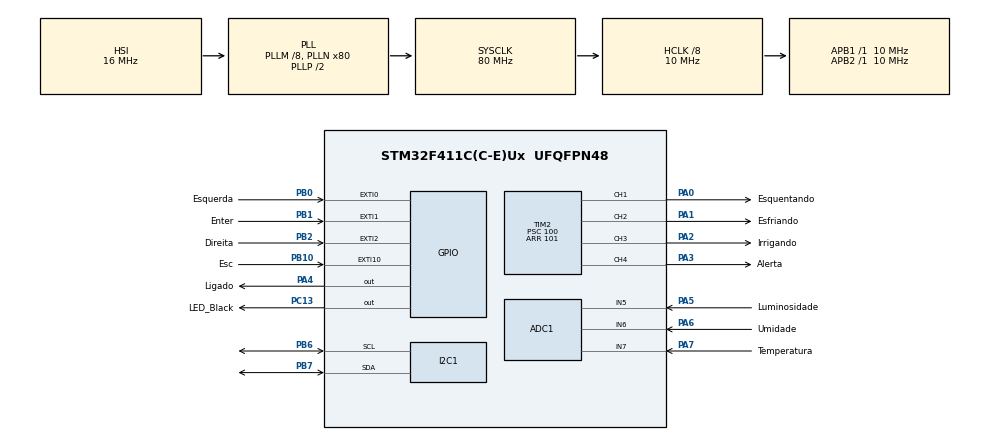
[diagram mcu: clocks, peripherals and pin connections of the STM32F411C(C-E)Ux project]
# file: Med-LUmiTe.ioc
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ADC1.Channel-0\#ChannelRegularConversion=ADC_CHANNEL_5
ADC1.Channel-1\#ChannelRegularConversion=ADC_CHANNEL_6
ADC1.Channel-2\#ChannelRegularConversion=ADC_CHANNEL_7
ADC1.ContinuousConvMode=ENABLE
ADC1.DMAContinuousRequests=ENABLE
ADC1.NbrOfConversion=3
ADC1.NbrOfConversionFlag=1
ADC1.Rank-0\#ChannelRegularConversion=1
ADC1.Rank-1\#ChannelRegularConversion=2
ADC1.Rank-2\#ChannelRegularConversion=3
ADC1.SamplingTime-0\#ChannelRegularConversion=ADC_SAMPLETIME_84CYCLES
ADC1.SamplingTime-1\#ChannelRegularConversion=ADC_SAMPLETIME_84CYCLES
ADC1.SamplingTime-2\#ChannelRegularConversion=ADC_SAMPLETIME_84CYCLES
ADC1.ScanConvMode=ENABLE
ADC1.master=1
Dma.ADC1.0.Direction=DMA_PERIPH_TO_MEMORY
Dma.ADC1.0.FIFOMode=DMA_FIFOMODE_DISABLE
Dma.ADC1.0.Instance=DMA2_Stream0
Dma.ADC1.0.MemDataAlignment=DMA_MDATAALIGN_HALFWORD
Dma.ADC1.0.MemInc=DMA_MINC_ENABLE
Dma.ADC1.0.Mode=DMA_CIRCULAR
Dma.ADC1.0.PeriphDataAlignment=DMA_PDATAALIGN_HALFWORD
Dma.ADC1.0.PeriphInc=DMA_PINC_DISABLE
Dma.ADC1.0.Priority=DMA_PRIORITY_LOW
Dma.Request0=ADC1
Mcu.Family=STM32F4
Mcu.Name=STM32F411C(C-E)Ux
Mcu.Package=UFQFPN48
NVIC.ADC_IRQn=true\:0\:0\:false\:false\:true\:true\:true\:true
NVIC.DMA2_Stream0_IRQn=true\:0\:0\:false\:false\:true\:false\:true\:true
NVIC.EXTI0_IRQn=true\:0\:0\:false\:false\:true\:true\:true\:true
NVIC.EXTI15_10_IRQn=true\:0\:0\:false\:false\:true\:true\:true\:true
NVIC.EXTI1_IRQn=true\:0\:0\:false\:false\:true\:true\:true\:true
NVIC.EXTI2_IRQn=true\:0\:0\:false\:false\:true\:true\:true\:true
NVIC.PriorityGroup=NVIC_PRIORITYGROUP_4
NVIC.TIM3_IRQn=true\:0\:0\:false\:false\:true\:true\:true\:true
NVIC.TIM4_IRQn=true\:0\:0\:false\:false\:true\:true\:true\:true
PA0-WKUP.GPIO_Label=Esquentando
PA0-WKUP.Signal=S_TIM2_CH1_ETR
PA1.GPIO_Label=Esfriando
PA1.Signal=S_TIM2_CH2
PA13.Mode=Serial_Wire
PA13.Signal=SYS_JTMS-SWDIO
PA14.Mode=Serial_Wire
PA14.Signal=SYS_JTCK-SWCLK
PA2.GPIO_Label=Irrigando
PA2.Signal=S_TIM2_CH3
PA3.GPIO_Label=Alerta
PA3.Signal=S_TIM2_CH4
PA4.GPIO_Label=Ligado
PA4.Signal=GPIO_Output
PA5.GPIO_Label=Luminosidade
PA5.Signal=ADCx_IN5
PA6.GPIO_Label=Umidade
PA6.Signal=ADCx_IN6
PA7.GPIO_Label=Temperatura
PA7.Signal=ADCx_IN7
PB0.GPIO_Label=Esquerda
PB0.GPIO_PuPd=GPIO_PULLDOWN
PB0.Signal=GPXTI0
PB1.GPIO_Label=Enter
PB1.GPIO_PuPd=GPIO_PULLDOWN
PB1.Signal=GPXTI1
PB10.GPIO_Label=Esc
PB10.GPIO_PuPd=GPIO_PULLDOWN
PB10.Signal=GPXTI10
PB2.GPIO_Label=Direita
PB2.GPIO_PuPd=GPIO_PULLDOWN
PB2.Signal=GPXTI2
PB6.Mode=I2C
PB6.Signal=I2C1_SCL
PB7.Mode=I2C
PB7.Signal=I2C1_SDA
PC13-ANTI_TAMP.GPIO_Label=LED_Black
PC13-ANTI_TAMP.Signal=GPIO_Output
PC14-OSC32_IN.Mode=LSE-External-Oscillator
PC14-OSC32_IN.Signal=RCC_OSC32_IN
PC15-OSC32_OUT.Mode=LSE-External-Oscillator
PC15-OSC32_OUT.Signal=RCC_OSC32_OUT
PH0\ -\ OSC_IN.Mode=HSE-External-Oscillator
PH0\ -\ OSC_IN.Signal=RCC_OSC_IN
PH1\ -\ OSC_OUT.Mode=HSE-External-Oscillator
PH1\ -\ OSC_OUT.Signal=RCC_OSC_OUT
ProjectManager.HeapSize=0x200
ProjectManager.StackSize=0x400
ProjectManager.TargetToolchain=STM32CubeIDE
RCC.48MHZClocksFreq_Value=40000000
RCC.AHBCLKDivider=RCC_SYSCLK_DIV8
RCC.AHBFreq_Value=10000000
RCC.APB1Freq_Value=10000000
RCC.APB1TimFreq_Value=10000000
RCC.APB2Freq_Value=10000000
RCC.APB2TimFreq_Value=10000000
RCC.CortexFreq_Value=10000000
RCC.HCLKFreq_Value=10000000
RCC.HSE_VALUE=25000000
RCC.HSI_VALUE=16000000
RCC.PLLM=8
RCC.PLLN=80
RCC.SYSCLKFreq_VALUE=80000000
RCC.SYSCLKSource=RCC_SYSCLKSOURCE_PLLCLK
RCC.VCOOutputFreq_Value=160000000
SH.ADCx_IN5.0=ADC1_IN5,IN5
SH.ADCx_IN6.0=ADC1_IN6,IN6
SH.ADCx_IN7.0=ADC1_IN7,IN7
SH.S_TIM2_CH1_ETR.0=TIM2_CH1,PWM Generation1 CH1
SH.S_TIM2_CH2.0=TIM2_CH2,PWM Generation2 CH2
SH.S_TIM2_CH3.0=TIM2_CH3,PWM Generation3 CH3
SH.S_TIM2_CH4.0=TIM2_CH4,PWM Generation4 CH4
TIM2.Channel-PWM\ Generation1\ CH1=TIM_CHANNEL_1
TIM2.Channel-PWM\ Generation2\ CH2=TIM_CHANNEL_2
TIM2.Channel-PWM\ Generation3\ CH3=TIM_CHANNEL_3
TIM2.Channel-PWM\ Generation4\ CH4=TIM_CHANNEL_4
TIM2.Period=101
TIM2.Prescaler=100
TIM2.Pulse-PWM\ Generation1\ CH1=100
TIM2.Pulse-PWM\ Generation2\ CH2=100
TIM2.Pulse-PWM\ Generation3\ CH3=100
TIM2.Pulse-PWM\ Generation4\ CH4=100
TIM2.TIM_MasterOutputTrigger=TIM_TRGO_RESET
TIM2.TIM_MasterSlaveMode=TIM_MASTERSLAVEMODE_DISABLE
TIM3.Period=10000-1
TIM3.Prescaler=1000-1
TIM4.Period=10000-1
TIM4.Prescaler=1000-1
VP_TIM2_VS_ClockSourceINT.Mode=Internal
VP_TIM3_VS_ClockSourceINT.Mode=Internal
VP_TIM4_VS_ClockSourceINT.Mode=Internal
board=custom

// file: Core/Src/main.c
/* USER CODE BEGIN Header */
/**
  ******************************************************************************
  * @file           : main.c
  * @brief          : Main program body
  ******************************************************************************
  * @attention
  *
  * Copyright (c) 2026 STMicroelectronics.
  * All rights reserved.
  *
  * This software is licensed under terms that can be found in the LICENSE file
  * in the root directory of this software component.
  * If no LICENSE file comes with this software, it is provided AS-IS.
  *
  ******************************************************************************
  */
/* USER CODE END Header */
#include "main.h"

ADC_HandleTypeDef hadc1;
DMA_HandleTypeDef hdma_adc1;

I2C_HandleTypeDef hi2c1;

TIM_HandleTypeDef htim2;
TIM_HandleTypeDef htim3;
TIM_HandleTypeDef htim4;

/* USER CODE BEGIN PV */
I2C_LCD_Handler lcd1;
/* USER CODE END PV */

void SystemClock_Config(void);
static void MX_GPIO_Init(void);
static void MX_DMA_Init(void);
static void MX_ADC1_Init(void);
static void MX_I2C1_Init(void);
static void MX_TIM2_Init(void);
static void MX_TIM3_Init(void);
static void MX_TIM4_Init(void);

/* USER CODE BEGIN 0 */
//Variaveis Para Uso De Debug:
float DLux, DUmi, DTemp;
float DLum, DLWatts;
float DUabs, DUmpt, DUpo;
float DTf, DTk, DTst;
uint8_t DAl, DAu, DAt;

//Variaveis Necessárias No Main:
uint8_t AlertaStatus;
uint8_t AtualizaLeds;
uint8_t NovoDutyCycle;
uint16_t ConversorDLimite;

//Limites Padrão:
uint16_t LMinLux = 300;
uint16_t LMaxLux = 500;
uint16_t LMinUmi = 40;
uint16_t LMaxUmi = 80;
uint16_t LMinTemp = 300;
uint16_t LMaxTemp = 500;
uint8_t MudandoMaxMin = 0x00;

//Variaveis Alteradas por DMA || TIMERS:
volatile uint16_t SegundosPadrao;
volatile uint16_t SegundosAlerta;
volatile uint16_t RegistroADC[3];

//Variaveis Para Uso do LCD && Botões:
volatile uint8_t ControleLCD = Nada;
uint8_t TelaMenu = Geral;
const char *menus[7][4] =
{
		// [Menu 0] - Geral
	{//  "01234567890123456789
		"Lux: ",
		"Umidade: ",
		"Temperatura: ",
		"Tempo Alerta: "
	},
		// [Menu 1] - Dados Luminosidade
	{// "01234567890123456789
		"Dados Luminosidade",
		"Lux: ",
		"Lumens em 1.5m: ",
		"WattsPorM2: "
	},

		// [Menu 2] - Dados Umidade
	{//  "01234567890123456789
		"Umidade Rel: ",
		"Umidade Abs: ",
		"Umidade Max: ",
		"PontOrvalho: "
	},
		// [Menu 3] - Dados Temperatura
	{//  "01234567890123456789
		"Temp em C: ",
		"Temp em F: ",
		"Temp em K: ",
		"Sens Termica: "
	},
		// [Menu 4] - Status Alertas:
	{//  "01234567890123456789
		"Conforto Lum: ",
		"Status Gelo: ",
		"Temp Sensor: ",
		"Status Alerta: "
	},
		// [Menu 5] - Dados Tempo
	{// "01234567890123456789
		"Registro De Tempos",
		"Tempo Ligado: ",
		"Tempo Em Alerta: ",
		"ESC Zera TempoAlerta"
	},
		// [Menu 6] - Configurações
	{// "01234567890123456789
		"Alterando Alerta",
		"LLum: ",
		"LUmi: ",
		"LTemp:"
	}
};

void MudaTela(I2C_LCD_Handler *LCD, const char *str[4])
{
	HAL_GPIO_TogglePin(GPIOC, LED_Black_Pin);
	LCD_Clear_All(LCD);
	LCD_Set_Pos_Home(LCD);

	LCD_Write_String(LCD, str[0]);
	LCD_Set_Pos(LCD, 0, 1);
	LCD_Write_String(LCD, str[1]);
	LCD_Set_Pos(LCD, 0, 2);
	LCD_Write_String(LCD, str[2]);
	LCD_Set_Pos(LCD, 0, 3);
	LCD_Write_String(LCD, str[3]);
}

const char* VerificarStatusAlerta(uint8_t Status)
{
    if (Status > 0) return "On";

    return "Off";
}
/* USER CODE END 0 */

int main(void)
{

  /* MCU Configuration--------------------------------------------------------*/

  /* Reset of all peripherals, Initializes the Flash interface and the Systick. */
  HAL_Init();

  /* Configure the system clock */
  SystemClock_Config();

  /* Initialize all configured peripherals */
  MX_GPIO_Init();
  MX_DMA_Init();
  MX_ADC1_Init();
  MX_I2C1_Init();
  MX_TIM2_Init();
  MX_TIM3_Init();
  MX_TIM4_Init();
  /* USER CODE BEGIN 2 */
  //Inicia Medição Potenciometros E Armazena No Registro:
  HAL_ADC_Start_DMA(&hadc1, (uint32_t*)RegistroADC, 3);

  //Inicia Os Timers:
  HAL_TIM_Base_Start(&htim2); 		//Responsável Pelos PWM
  HAL_TIM_Base_Start_IT(&htim3); 	//Responsável Pela Contagem De Tempo Em Que O Dispositivo Está Ligado
  HAL_TIM_Base_Start_IT(&htim4);	//Responsável Pela Contagem De Tempo Em Que O Alerta Esteve Ligado

  //Inicia Os PWMs:
  HAL_TIM_PWM_Start(&htim2, TIM_CHANNEL_1);
  HAL_TIM_PWM_Start(&htim2, TIM_CHANNEL_2);
  HAL_TIM_PWM_Start(&htim2, TIM_CHANNEL_3);
  HAL_TIM_PWM_Start(&htim2, TIM_CHANNEL_4);

  //Inicializa o LCD:
  LCD_Default_Init(&lcd1, &hi2c1, 20, 4);

  //Coloca A Tela De Medições Gerais Como Inicio:
  MudaTela(&lcd1, menus[TelaMenu]);

  //Apaga Os LEDs Do PWM (Ascenderão No Decorrer Do Programa)
 __HAL_TIM_SET_COMPARE(&htim2, TIM_CHANNEL_1, 0);
 __HAL_TIM_SET_COMPARE(&htim2, TIM_CHANNEL_2, 0);
 __HAL_TIM_SET_COMPARE(&htim2, TIM_CHANNEL_3, 0);
 __HAL_TIM_SET_COMPARE(&htim2, TIM_CHANNEL_4, 0);

 //Inicializa Filtros Para Cada Medição
 FiltroExp Lum;
 FiltroExp Umi;
 FiltroExp Temp;
 FiltroInit(&Lum, 0.9f);
 FiltroInit(&Umi, 0.9f);
 FiltroInit(&Temp, 0.68f);

 //Inicialização Concluida Com Sucesso, Ascende o Pino Indicador De "Ligado"
 HAL_GPIO_WritePin(GPIOA, Ligado_Pin, 1);
  /* USER CODE END 2 */

  /* Infinite loop */
  /* USER CODE BEGIN WHILE */
	while (1)
	{
		//Seção Responsável Por Alterar Tela No Menu Do LCD:
		if (ControleLCD != Nada)
		{
			switch (ControleLCD)
			{
				case Esquerda:
					if (TelaMenu <= Luminosidade){TelaMenu = Tempos; MudaTela(&lcd1, menus[TelaMenu]);}
					else if (TelaMenu != Configuracoes)  MudaTela(&lcd1, menus[--TelaMenu]);
					else if (TelaMenu == Configuracoes) MudandoMaxMin &= ~0X01;
					break;

				case Enter:
					if (TelaMenu != Configuracoes){TelaMenu = Configuracoes; MudaTela(&lcd1, menus[TelaMenu]);}
					else if (TelaMenu == Configuracoes) MudandoMaxMin ^= 0x02;
					break;

				case Direita:
					if (TelaMenu == Tempos){TelaMenu = Luminosidade; MudaTela(&lcd1, menus[TelaMenu]);}
					else if (TelaMenu != Configuracoes) MudaTela(&lcd1, menus[++TelaMenu]);
					else if (TelaMenu == Configuracoes) MudandoMaxMin |= 0X01;
					break;

				case Esc:
					if (TelaMenu != Geral){MudandoMaxMin = 0x00; TelaMenu = Geral; MudaTela(&lcd1, menus[TelaMenu]);}
					SegundosAlerta = 0;
					break;

				default: break;
			}
			ControleLCD = Nada;
			HAL_GPIO_TogglePin(GPIOC, LED_Black_Pin);
		}

		//Seção Responsável Pela Atualização Dos LEDs:
		AlertaStatus = 0x00;
		AtualizaLeds = 0;
		NovoDutyCycle = 0;
		ConversorDLimite = 0;

		while (AtualizaLeds < 3)
		{
			switch (AtualizaLeds)
			{
				case (Luminosidade-1):
					ConversorDLimite = (uint16_t)(RegistroADC[AtualizaLeds]>>2);// [0;~1024]

					if (ConversorDLimite <= (uint16_t)LMinLux || ConversorDLimite >= (uint16_t)LMaxLux)
					{
						NovoDutyCycle += (ConversorDLimite <= LMinLux) ?
							(LMinLux - ConversorDLimite)
								:
							(ConversorDLimite - LMaxLux);
						AlertaStatus = (AlertaStatus & 0x07) | 0x01 << AtualizaLeds;
					}

					FiltroAplicar(&Lum, ConversorDLimite);

					break;

				case (Umidade-1):
					ConversorDLimite = (uint16_t)(RegistroADC[AtualizaLeds]*101/4095); //"0" + 100 == 101

					if (ConversorDLimite <= (uint16_t)LMinUmi || ConversorDLimite >= (uint16_t)LMaxUmi)
					{
						NovoDutyCycle += (ConversorDLimite <= LMinUmi) ?
							(LMinUmi - ConversorDLimite)
								:
							(ConversorDLimite - LMaxUmi);
						AlertaStatus = (AlertaStatus & 0x07) | 0x01 << AtualizaLeds;
					}

					__HAL_TIM_SET_COMPARE(&htim2, TIM_CHANNEL_3, ConversorDLimite);

					FiltroAplicar(&Umi, ConversorDLimite);
					break;

				case (Temperatura-1):
					ConversorDLimite = (uint16_t)(RegistroADC[AtualizaLeds]*801/4095); //80 valores * 10 casas decimais + 0

					if (ConversorDLimite <= (uint16_t)LMinTemp || ConversorDLimite >= (uint16_t)LMaxTemp)
					{
						NovoDutyCycle += (ConversorDLimite <= LMinTemp) ?
							(LMinTemp - ConversorDLimite)
								:
							(ConversorDLimite - LMaxTemp);
						AlertaStatus = (AlertaStatus & 0x07) | 0x01 << AtualizaLeds;
					}

					FiltroAplicar(&Temp, (ConversorDLimite - 200)/10); //Faz Intervalo Temperatura começar em -20 [-20;60]

					if (GetValorAntFiltro(&Temp) < 0.0f)
					{__HAL_TIM_SET_COMPARE(&htim2, TIM_CHANNEL_1, (ConversorDLimite/801));__HAL_TIM_SET_COMPARE(&htim2, TIM_CHANNEL_2, (801-(ConversorDLimite/801)));}
					else if (GetValorAntFiltro(&Temp) > 0.0f)
					{__HAL_TIM_SET_COMPARE(&htim2, TIM_CHANNEL_2, (ConversorDLimite/801));__HAL_TIM_SET_COMPARE(&htim2, TIM_CHANNEL_1, (801-(ConversorDLimite/801)));}
					else if (GetValorAntFiltro(&Temp) == 0.0f) {__HAL_TIM_SET_COMPARE(&htim2, TIM_CHANNEL_2, 0);__HAL_TIM_SET_COMPARE(&htim2, TIM_CHANNEL_1, 0);}

					break;
				default: break;
			}

			AtualizaLeds++;
		}
		__HAL_TIM_SET_COMPARE(&htim2, TIM_CHANNEL_4, NovoDutyCycle<<2);

		if (AlertaStatus > 0x00) __HAL_TIM_ENABLE_IT(&htim4, TIM_IT_UPDATE);
		else __HAL_TIM_DISABLE_IT(&htim4, TIM_IT_UPDATE);

		//Atualiza Valores De Variaveis de Debug:
		DLux = GetValorFiltro(&Lum);
		DUmi = GetValorFiltro(&Umi);
		DTemp = GetValorFiltro(&Temp);

		DLum = LuxToLumens(DLux, 1.5);
		DLWatts = LuxToWattPorM2(DLux, Fluororescente);

		DUabs = UmidadeAbsoluta(DUmi, DTemp);
		DUmpt = UmidadeMaxPorTemp(DTemp);
		DUpo = PontOrvalho(DTemp, DUmi);

		DTf = CelsiusToFahrenheit(DTemp);
		DTk = CelsiusToKelvin(DTemp);
		DTst = SensacaoTermica(DTemp, DUmi);

		DAl = (AlertaStatus&(0x01<<0));
		DAu = (AlertaStatus&(0x01<<1));
		DAt = (AlertaStatus&(0x01<<2));

		//Seção Responsável Pela Exibição Dos Valores Medidos De Acordo Com O Tipo De Tela Selecionada:
		switch (TelaMenu)
		{
			case Geral:
				LCD_Clear_Partial_Line(&lcd1, 0, (uint8_t) strlen(menus[TelaMenu][0]));
				LCD_Write_Number(&lcd1, DLux, 2);

				LCD_Clear_Partial_Line(&lcd1, 1, (uint8_t) strlen(menus[TelaMenu][1]));
				LCD_Write_Number(&lcd1, DUmi, 2);

				LCD_Clear_Partial_Line(&lcd1, 2, (uint8_t) strlen(menus[TelaMenu][2]));
				LCD_Write_Number(&lcd1, DTemp, 2);

				LCD_Clear_Partial_Line(&lcd1, 3, (uint8_t) strlen(menus[TelaMenu][3]));
				LCD_Write_Number(&lcd1, SegundosAlerta, 0);
				break;

			case Luminosidade:
				LCD_Clear_Partial_Line(&lcd1, 1, (uint8_t) strlen(menus[TelaMenu][1]));
				LCD_Write_Number(&lcd1, DLux, 2);

				LCD_Clear_Partial_Line(&lcd1, 2, (uint8_t) strlen(menus[TelaMenu][2]));
				LCD_Write_Number(&lcd1, DLum, 2);

				LCD_Clear_Partial_Line(&lcd1, 3, (uint8_t) strlen(menus[TelaMenu][3]));
				LCD_Write_Number(&lcd1, DLWatts, 2);
				break;

			case Umidade:
				LCD_Clear_Partial_Line(&lcd1, 0, (uint8_t) strlen(menus[TelaMenu][0]));
				LCD_Write_Number(&lcd1, DUmi, 2);

				LCD_Clear_Partial_Line(&lcd1, 1, (uint8_t) strlen(menus[TelaMenu][1]));
				LCD_Write_Number(&lcd1, DUabs, 2);

				LCD_Clear_Partial_Line(&lcd1, 2, (uint8_t) strlen(menus[TelaMenu][2]));
				LCD_Write_Number(&lcd1, DUmpt, 2);

				LCD_Clear_Partial_Line(&lcd1, 3, (uint8_t) strlen(menus[TelaMenu][3]));
				LCD_Write_Number(&lcd1, DUpo, 2);
				break;

			case Temperatura:
				LCD_Clear_Partial_Line(&lcd1, 0, (uint8_t) strlen(menus[TelaMenu][0]));
				LCD_Write_Number(&lcd1, DTemp, 2);

				LCD_Clear_Partial_Line(&lcd1, 1, (uint8_t) strlen(menus[TelaMenu][1]));
				LCD_Write_Number(&lcd1, DTf, 2);

				LCD_Clear_Partial_Line(&lcd1, 2, (uint8_t) strlen(menus[TelaMenu][2]));
				LCD_Write_Number(&lcd1, DTk, 2);

				LCD_Clear_Partial_Line(&lcd1, 3, (uint8_t) strlen(menus[TelaMenu][3]));
				LCD_Write_Number(&lcd1, DTst, 2);
				break;

			case Alertas:
				LCD_Clear_Partial_Line(&lcd1, 0, (uint8_t) strlen(menus[TelaMenu][0]));
				LCD_Write_String(&lcd1, AvaliarConfortoLuminoso(DLux, AmbienteTrabalho));

				LCD_Clear_Partial_Line(&lcd1, 1, (uint8_t) strlen(menus[TelaMenu][1]));
				LCD_Write_String(&lcd1, VerificarAlertaGelo(DTemp, DUmi));

				LCD_Clear_Partial_Line(&lcd1, 2, (uint8_t) strlen(menus[TelaMenu][2]));
				LCD_Write_String(&lcd1, InteracaoLuzTemperatura(DTemp));

				LCD_Clear_Partial_Line(&lcd1, 3, (uint8_t) strlen(menus[TelaMenu][3]));
				LCD_Write_String(&lcd1, VerificarStatusAlerta(AlertaStatus));
				break;

			case Tempos:
				LCD_Set_Pos(&lcd1, (uint8_t) strlen(menus[TelaMenu][1]), 1);
				LCD_Write_Number(&lcd1, SegundosPadrao, 0);

				LCD_Clear_Partial_Line(&lcd1, 2, (uint8_t) strlen(menus[TelaMenu][2]));
				LCD_Write_Number(&lcd1, SegundosAlerta, 0);
				break;

			case Configuracoes:
				if((MudandoMaxMin & 0x02) == 0x02)
				{
					if (MudandoMaxMin == 0x03)
					{
						LMaxLux = DLux;
						LMaxUmi = DUmi;
						LMaxTemp = (DTemp*10)+200;

						LCD_Clear_Partial_Line(&lcd1, 0, (uint8_t) strlen(menus[TelaMenu][0]));
						LCD_Write_String(&lcd1, "Max");

						LCD_Clear_Partial_Line(&lcd1, 1, (uint8_t) strlen(menus[TelaMenu][1]));
						LCD_Write_Number(&lcd1, LMaxLux, 2);

						LCD_Clear_Partial_Line(&lcd1, 2, (uint8_t) strlen(menus[TelaMenu][2]));
						LCD_Write_Number(&lcd1, LMaxUmi, 2);

						LCD_Clear_Partial_Line(&lcd1, 3, (uint8_t) strlen(menus[TelaMenu][3]));
						LCD_Write_Number(&lcd1, (LMaxTemp-200)/10, 2);
					}
					else if (MudandoMaxMin == 0x02)
					{
						LMinLux = DLux;
						LMinUmi = DUmi;
						LMinTemp = (DTemp*10)+200;

						LCD_Clear_Partial_Line(&lcd1, 0, (uint8_t) strlen(menus[TelaMenu][0]));
						LCD_Write_String(&lcd1, "Min");

						LCD_Clear_Partial_Line(&lcd1, 1, (uint8_t) strlen(menus[TelaMenu][1]));
						LCD_Write_Number(&lcd1, LMinLux, 2);

						LCD_Clear_Partial_Line(&lcd1, 2, (uint8_t) strlen(menus[TelaMenu][2]));
						LCD_Write_Number(&lcd1, LMinUmi, 2);

						LCD_Clear_Partial_Line(&lcd1, 3, (uint8_t) strlen(menus[TelaMenu][3]));
						LCD_Write_Number(&lcd1, (LMinTemp-200)/10, 2);
					}
				}
				else
				{
					LCD_Clear_Partial_Line(&lcd1, 1, (uint8_t) strlen(menus[TelaMenu][1]));
					LCD_Write_String(&lcd1, "Pressione");

					LCD_Clear_Partial_Line(&lcd1, 2, (uint8_t) strlen(menus[TelaMenu][2]));
					LCD_Write_String(&lcd1, "Enter");

					LCD_Clear_Partial_Line(&lcd1, 3, (uint8_t) strlen(menus[TelaMenu][3]));
					LCD_Write_String(&lcd1, "Para Mudar");
				}

				break;

			default: break;
		}
	}
    /* USER CODE END WHILE */
}
    /* USER CODE BEGIN 3 */
void HAL_GPIO_EXTI_Callback(uint16_t GPIO_Pin) //Interrupção Por Botões (Usada Para Mudar Tela Do LCD):
{
	switch (GPIO_Pin)
	{
		case Esquerda_Pin: ControleLCD = Esquerda; break;

		case Enter_Pin: ControleLCD = Enter; break;

		case Direita_Pin: ControleLCD = Direita; break;

		case Esc_Pin: ControleLCD = Esc; break;

		default: break;
	}
}
void HAL_TIM_PeriodElapsedCallback (TIM_HandleTypeDef * Timer) //Interrupção Por Timers A Cada 1s, Para Contar A Passagem Do Tempo:
{
	if (Timer->Instance == TIM3) SegundosPadrao++;
	if (Timer->Instance == TIM4) SegundosAlerta++;
}
  /* USER CODE END 3 */

void SystemClock_Config(void)
{
  RCC_OscInitTypeDef RCC_OscInitStruct = {0};
  RCC_ClkInitTypeDef RCC_ClkInitStruct = {0};

  /** Configure the main internal regulator output voltage
  */
  __HAL_RCC_PWR_CLK_ENABLE();
  __HAL_PWR_VOLTAGESCALING_CONFIG(PWR_REGULATOR_VOLTAGE_SCALE1);

  /** Initializes the RCC Oscillators according to the specified parameters
  * in the RCC_OscInitTypeDef structure.
  */
  RCC_OscInitStruct.OscillatorType = RCC_OSCILLATORTYPE_HSI;
  RCC_OscInitStruct.HSIState = RCC_HSI_ON;
  RCC_OscInitStruct.HSICalibrationValue = RCC_HSICALIBRATION_DEFAULT;
  RCC_OscInitStruct.PLL.PLLState = RCC_PLL_ON;
  RCC_OscInitStruct.PLL.PLLSource = RCC_PLLSOURCE_HSI;
  RCC_OscInitStruct.PLL.PLLM = 8;
  RCC_OscInitStruct.PLL.PLLN = 80;
  RCC_OscInitStruct.PLL.PLLP = RCC_PLLP_DIV2;
  RCC_OscInitStruct.PLL.PLLQ = 4;
  if (HAL_RCC_OscConfig(&RCC_OscInitStruct) != HAL_OK)
  {
    Error_Handler();
  }

  /** Initializes the CPU, AHB and APB buses clocks
  */
  RCC_ClkInitStruct.ClockType = RCC_CLOCKTYPE_HCLK|RCC_CLOCKTYPE_SYSCLK
                              |RCC_CLOCKTYPE_PCLK1|RCC_CLOCKTYPE_PCLK2;
  RCC_ClkInitStruct.SYSCLKSource = RCC_SYSCLKSOURCE_PLLCLK;
  RCC_ClkInitStruct.AHBCLKDivider = RCC_SYSCLK_DIV8;
  RCC_ClkInitStruct.APB1CLKDivider = RCC_HCLK_DIV1;
  RCC_ClkInitStruct.APB2CLKDivider = RCC_HCLK_DIV1;

  if (HAL_RCC_ClockConfig(&RCC_ClkInitStruct, FLASH_LATENCY_0) != HAL_OK)
  {
    Error_Handler();
  }
}

static void MX_ADC1_Init(void)
{

  ADC_ChannelConfTypeDef sConfig = {0};

  /** Configure the global features of the ADC (Clock, Resolution, Data Alignment and number of conversion)
  */
  hadc1.Instance = ADC1;
  hadc1.Init.ClockPrescaler = ADC_CLOCK_SYNC_PCLK_DIV2;
  hadc1.Init.Resolution = ADC_RESOLUTION_12B;
  hadc1.Init.ScanConvMode = ENABLE;
  hadc1.Init.ContinuousConvMode = ENABLE;
  hadc1.Init.DiscontinuousConvMode = DISABLE;
  hadc1.Init.ExternalTrigConvEdge = ADC_EXTERNALTRIGCONVEDGE_NONE;
  hadc1.Init.ExternalTrigConv = ADC_SOFTWARE_START;
  hadc1.Init.DataAlign = ADC_DATAALIGN_RIGHT;
  hadc1.Init.NbrOfConversion = 3;
  hadc1.Init.DMAContinuousRequests = ENABLE;
  hadc1.Init.EOCSelection = ADC_EOC_SINGLE_CONV;
  if (HAL_ADC_Init(&hadc1) != HAL_OK)
  {
    Error_Handler();
  }

  /** Configure for the selected ADC regular channel its corresponding rank in the sequencer and its sample time.
  */
  sConfig.Channel = ADC_CHANNEL_5;
  sConfig.Rank = 1;
  sConfig.SamplingTime = ADC_SAMPLETIME_84CYCLES;
  if (HAL_ADC_ConfigChannel(&hadc1, &sConfig) != HAL_OK)
  {
    Error_Handler();
  }

  /** Configure for the selected ADC regular channel its corresponding rank in the sequencer and its sample time.
  */
  sConfig.Channel = ADC_CHANNEL_6;
  sConfig.Rank = 2;
  if (HAL_ADC_ConfigChannel(&hadc1, &sConfig) != HAL_OK)
  {
    Error_Handler();
  }

  /** Configure for the selected ADC regular channel its corresponding rank in the sequencer and its sample time.
  */
  sConfig.Channel = ADC_CHANNEL_7;
  sConfig.Rank = 3;
  if (HAL_ADC_ConfigChannel(&hadc1, &sConfig) != HAL_OK)
  {
    Error_Handler();
  }

}

static void MX_I2C1_Init(void)
{

  hi2c1.Instance = I2C1;
  hi2c1.Init.ClockSpeed = 100000;
  hi2c1.Init.DutyCycle = I2C_DUTYCYCLE_2;
  hi2c1.Init.OwnAddress1 = 0;
  hi2c1.Init.AddressingMode = I2C_ADDRESSINGMODE_7BIT;
  hi2c1.Init.DualAddressMode = I2C_DUALADDRESS_DISABLE;
  hi2c1.Init.OwnAddress2 = 0;
  hi2c1.Init.GeneralCallMode = I2C_GENERALCALL_DISABLE;
  hi2c1.Init.NoStretchMode = I2C_NOSTRETCH_DISABLE;
  if (HAL_I2C_Init(&hi2c1) != HAL_OK)
  {
    Error_Handler();
  }

}

static void MX_TIM2_Init(void)
{

  TIM_ClockConfigTypeDef sClockSourceConfig = {0};
  TIM_MasterConfigTypeDef sMasterConfig = {0};
  TIM_OC_InitTypeDef sConfigOC = {0};

  htim2.Instance = TIM2;
  htim2.Init.Prescaler = 100;
  htim2.Init.CounterMode = TIM_COUNTERMODE_UP;
  htim2.Init.Period = 101;
  htim2.Init.ClockDivision = TIM_CLOCKDIVISION_DIV1;
  htim2.Init.AutoReloadPreload = TIM_AUTORELOAD_PRELOAD_DISABLE;
  if (HAL_TIM_Base_Init(&htim2) != HAL_OK)
  {
    Error_Handler();
  }
  sClockSourceConfig.ClockSource = TIM_CLOCKSOURCE_INTERNAL;
  if (HAL_TIM_ConfigClockSource(&htim2, &sClockSourceConfig) != HAL_OK)
  {
    Error_Handler();
  }
  if (HAL_TIM_PWM_Init(&htim2) != HAL_OK)
  {
    Error_Handler();
  }
  sMasterConfig.MasterOutputTrigger = TIM_TRGO_RESET;
  sMasterConfig.MasterSlaveMode = TIM_MASTERSLAVEMODE_DISABLE;
  if (HAL_TIMEx_MasterConfigSynchronization(&htim2, &sMasterConfig) != HAL_OK)
  {
    Error_Handler();
  }
  sConfigOC.OCMode = TIM_OCMODE_PWM1;
  sConfigOC.Pulse = 100;
  sConfigOC.OCPolarity = TIM_OCPOLARITY_HIGH;
  sConfigOC.OCFastMode = TIM_OCFAST_DISABLE;
  if (HAL_TIM_PWM_ConfigChannel(&htim2, &sConfigOC, TIM_CHANNEL_1) != HAL_OK)
  {
    Error_Handler();
  }
  if (HAL_TIM_PWM_ConfigChannel(&htim2, &sConfigOC, TIM_CHANNEL_2) != HAL_OK)
  {
    Error_Handler();
  }
  if (HAL_TIM_PWM_ConfigChannel(&htim2, &sConfigOC, TIM_CHANNEL_3) != HAL_OK)
  {
    Error_Handler();
  }
  if (HAL_TIM_PWM_ConfigChannel(&htim2, &sConfigOC, TIM_CHANNEL_4) != HAL_OK)
  {
    Error_Handler();
  }
  HAL_TIM_MspPostInit(&htim2);

}

static void MX_TIM3_Init(void)
{

  TIM_ClockConfigTypeDef sClockSourceConfig = {0};
  TIM_MasterConfigTypeDef sMasterConfig = {0};

  htim3.Instance = TIM3;
  htim3.Init.Prescaler = 1000-1;
  htim3.Init.CounterMode = TIM_COUNTERMODE_UP;
  htim3.Init.Period = 10000-1;
  htim3.Init.ClockDivision = TIM_CLOCKDIVISION_DIV1;
  htim3.Init.AutoReloadPreload = TIM_AUTORELOAD_PRELOAD_DISABLE;
  if (HAL_TIM_Base_Init(&htim3) != HAL_OK)
  {
    Error_Handler();
  }
  sClockSourceConfig.ClockSource = TIM_CLOCKSOURCE_INTERNAL;
  if (HAL_TIM_ConfigClockSource(&htim3, &sClockSourceConfig) != HAL_OK)
  {
    Error_Handler();
  }
  sMasterConfig.MasterOutputTrigger = TIM_TRGO_RESET;
  sMasterConfig.MasterSlaveMode = TIM_MASTERSLAVEMODE_DISABLE;
  if (HAL_TIMEx_MasterConfigSynchronization(&htim3, &sMasterConfig) != HAL_OK)
  {
    Error_Handler();
  }

}

static void MX_TIM4_Init(void)
{

  TIM_ClockConfigTypeDef sClockSourceConfig = {0};
  TIM_MasterConfigTypeDef sMasterConfig = {0};

  htim4.Instance = TIM4;
  htim4.Init.Prescaler = 1000-1;
  htim4.Init.CounterMode = TIM_COUNTERMODE_UP;
  htim4.Init.Period = 10000-1;
  htim4.Init.ClockDivision = TIM_CLOCKDIVISION_DIV1;
  htim4.Init.AutoReloadPreload = TIM_AUTORELOAD_PRELOAD_DISABLE;
  if (HAL_TIM_Base_Init(&htim4) != HAL_OK)
  {
    Error_Handler();
  }
  sClockSourceConfig.ClockSource = TIM_CLOCKSOURCE_INTERNAL;
  if (HAL_TIM_ConfigClockSource(&htim4, &sClockSourceConfig) != HAL_OK)
  {
    Error_Handler();
  }
  sMasterConfig.MasterOutputTrigger = TIM_TRGO_RESET;
  sMasterConfig.MasterSlaveMode = TIM_MASTERSLAVEMODE_DISABLE;
  if (HAL_TIMEx_MasterConfigSynchronization(&htim4, &sMasterConfig) != HAL_OK)
  {
    Error_Handler();
  }

}

static void MX_DMA_Init(void)
{

  /* DMA controller clock enable */
  __HAL_RCC_DMA2_CLK_ENABLE();

  /* DMA interrupt init */
  /* DMA2_Stream0_IRQn interrupt configuration */
  HAL_NVIC_SetPriority(DMA2_Stream0_IRQn, 0, 0);
  HAL_NVIC_EnableIRQ(DMA2_Stream0_IRQn);

}

static void MX_GPIO_Init(void)
{
  GPIO_InitTypeDef GPIO_InitStruct = {0};

  /* GPIO Ports Clock Enable */
  __HAL_RCC_GPIOC_CLK_ENABLE();
  __HAL_RCC_GPIOH_CLK_ENABLE();
  __HAL_RCC_GPIOA_CLK_ENABLE();
  __HAL_RCC_GPIOB_CLK_ENABLE();

  /*Configure GPIO pin Output Level */
  HAL_GPIO_WritePin(LED_Black_GPIO_Port, LED_Black_Pin, GPIO_PIN_RESET);

  /*Configure GPIO pin Output Level */
  HAL_GPIO_WritePin(Ligado_GPIO_Port, Ligado_Pin, GPIO_PIN_RESET);

  /*Configure GPIO pin : LED_Black_Pin */
  GPIO_InitStruct.Pin = LED_Black_Pin;
  GPIO_InitStruct.Mode = GPIO_MODE_OUTPUT_PP;
  GPIO_InitStruct.Pull = GPIO_NOPULL;
  GPIO_InitStruct.Speed = GPIO_SPEED_FREQ_LOW;
  HAL_GPIO_Init(LED_Black_GPIO_Port, &GPIO_InitStruct);

  /*Configure GPIO pin : Ligado_Pin */
  GPIO_InitStruct.Pin = Ligado_Pin;
  GPIO_InitStruct.Mode = GPIO_MODE_OUTPUT_PP;
  GPIO_InitStruct.Pull = GPIO_NOPULL;
  GPIO_InitStruct.Speed = GPIO_SPEED_FREQ_LOW;
  HAL_GPIO_Init(Ligado_GPIO_Port, &GPIO_InitStruct);

  /*Configure GPIO pins : Esquerda_Pin Enter_Pin Direita_Pin Esc_Pin */
  GPIO_InitStruct.Pin = Esquerda_Pin|Enter_Pin|Direita_Pin|Esc_Pin;
  GPIO_InitStruct.Mode = GPIO_MODE_IT_RISING;
  GPIO_InitStruct.Pull = GPIO_PULLDOWN;
  HAL_GPIO_Init(GPIOB, &GPIO_InitStruct);

  /*Configure GPIO pins : PB12 PB13 PB14 PB15
                           PB3 PB4 PB5 PB8
                           PB9 */
  GPIO_InitStruct.Pin = GPIO_PIN_12|GPIO_PIN_13|GPIO_PIN_14|GPIO_PIN_15
                          |GPIO_PIN_3|GPIO_PIN_4|GPIO_PIN_5|GPIO_PIN_8
                          |GPIO_PIN_9;
  GPIO_InitStruct.Mode = GPIO_MODE_ANALOG;
  GPIO_InitStruct.Pull = GPIO_NOPULL;
  HAL_GPIO_Init(GPIOB, &GPIO_InitStruct);

  /*Configure GPIO pins : PA8 PA9 PA10 PA11
                           PA12 PA15 */
  GPIO_InitStruct.Pin = GPIO_PIN_8|GPIO_PIN_9|GPIO_PIN_10|GPIO_PIN_11
                          |GPIO_PIN_12|GPIO_PIN_15;
  GPIO_InitStruct.Mode = GPIO_MODE_ANALOG;
  GPIO_InitStruct.Pull = GPIO_NOPULL;
  HAL_GPIO_Init(GPIOA, &GPIO_InitStruct);

  /* EXTI interrupt init*/
  HAL_NVIC_SetPriority(EXTI0_IRQn, 0, 0);
  HAL_NVIC_EnableIRQ(EXTI0_IRQn);

  HAL_NVIC_SetPriority(EXTI1_IRQn, 0, 0);
  HAL_NVIC_EnableIRQ(EXTI1_IRQn);

  HAL_NVIC_SetPriority(EXTI2_IRQn, 0, 0);
  HAL_NVIC_EnableIRQ(EXTI2_IRQn);

  HAL_NVIC_SetPriority(EXTI15_10_IRQn, 0, 0);
  HAL_NVIC_EnableIRQ(EXTI15_10_IRQn);

}

void Error_Handler(void)
{
  __disable_irq();
  while (1)
  {
  }
}
